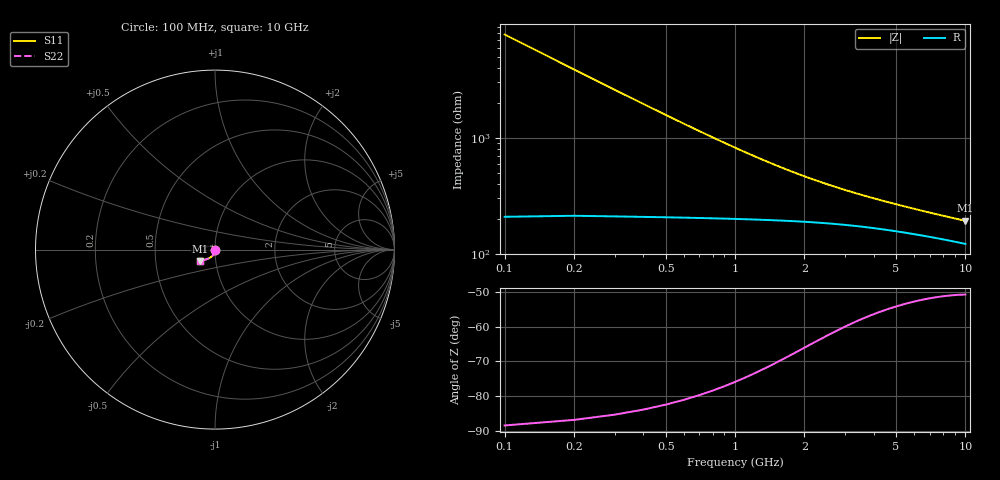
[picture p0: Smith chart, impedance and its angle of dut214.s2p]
! Touchstone file exported from HFSS 2024.1.0
!  File:  C:/UserFiles/LocalFiles/RDL_TSV_Batchsim/temp_TSV1_214_1778758101.aedt
!  Generated:  07:31:45 PM May 14, 2026
!  Design:  TSV1
!  Project:  temp_TSV1_214_1778758101
!  Setup:  Setup1
!  Solution:  Sweep
! Variables:
!  dtsv = 19.37um
!  hbump = 3um
!  htsv = 87.43um
!  lrdl = 252.1521522um
!  p = 40
!  p1 = 47.83um
!  t = 500um
!  trdl = 3um
!  wrdl = 24.89489489um
# GHz S MA R 50.000000
! Terminal data exported
! Port[1] = TSV22_T1
! Port[2] = TSV22_T2
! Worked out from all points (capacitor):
!   100 points, 100 MHz to 10 GHz, reference 50 ohm
!   read as one part in shunt: C = 205 fF near 100 MHz
!   lowest |Z| = 193 ohm at 10 GHz (marker M1)
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0.1  0.002919 -90.2  0.9998 -0.2  0.9998 -0.2  0.002919 -90.2
! Gamma 0 0 0 0
! Port Impedance 50 0 50 0
0.2  0.005853 -92.9  0.9995 -0.4  0.9995 -0.4  0.005853 -92.9
0.3  0.008764 -94.9  0.9991 -0.6  0.9991 -0.6  0.008764 -94.9
0.4  0.01164 -96.7  0.9984 -0.8  0.9984 -0.8  0.01164 -96.7
0.5  0.01447 -98.4  0.9976 -1.0  0.9976 -1.0  0.01447 -98.4
0.6  0.01724 -100.1  0.9967 -1.2  0.9967 -1.2  0.01724 -100.1
0.7  0.01995 -101.8  0.9957 -1.3  0.9957 -1.3  0.01995 -101.8
0.8  0.02259 -103.4  0.9945 -1.5  0.9945 -1.5  0.02259 -103.4
0.9  0.02516 -105.0  0.9933 -1.7  0.9933 -1.7  0.02516 -105.0
1.1  0.03005 -107.9  0.9906 -2.0  0.9906 -2.0  0.03005 -107.9
1.4  0.03676 -112.0  0.9863 -2.4  0.9863 -2.4  0.03676 -112.0
1.6  0.04082 -114.4  0.9833 -2.6  0.9833 -2.6  0.04082 -114.4
1.8  0.04456 -116.6  0.9803 -2.8  0.9803 -2.8  0.04456 -116.6
2.1  0.04963 -119.6  0.9759 -3.1  0.9759 -3.1  0.04963 -119.6
2.5  0.05551 -123.0  0.9704 -3.4  0.9704 -3.4  0.05551 -123.0
2.9  0.06058 -125.8  0.9654 -3.7  0.9654 -3.7  0.06058 -125.8
3.4  0.06604 -128.7  0.9598 -4.0  0.9598 -4.0  0.06604 -128.7
4.2  0.07333 -132.1  0.9521 -4.4  0.9521 -4.4  0.07333 -132.1
5.1  0.08008 -135.0  0.945 -4.8  0.945 -4.8  0.08008 -135.0
6.7  0.08966 -138.6  0.935 -5.5  0.935 -5.5  0.08966 -138.6
8.4  0.09762 -141.1  0.9268 -6.1  0.9268 -6.1  0.09762 -141.1
10  0.1037 -142.7  0.9207 -6.7  0.9207 -6.7  0.1037 -142.7
